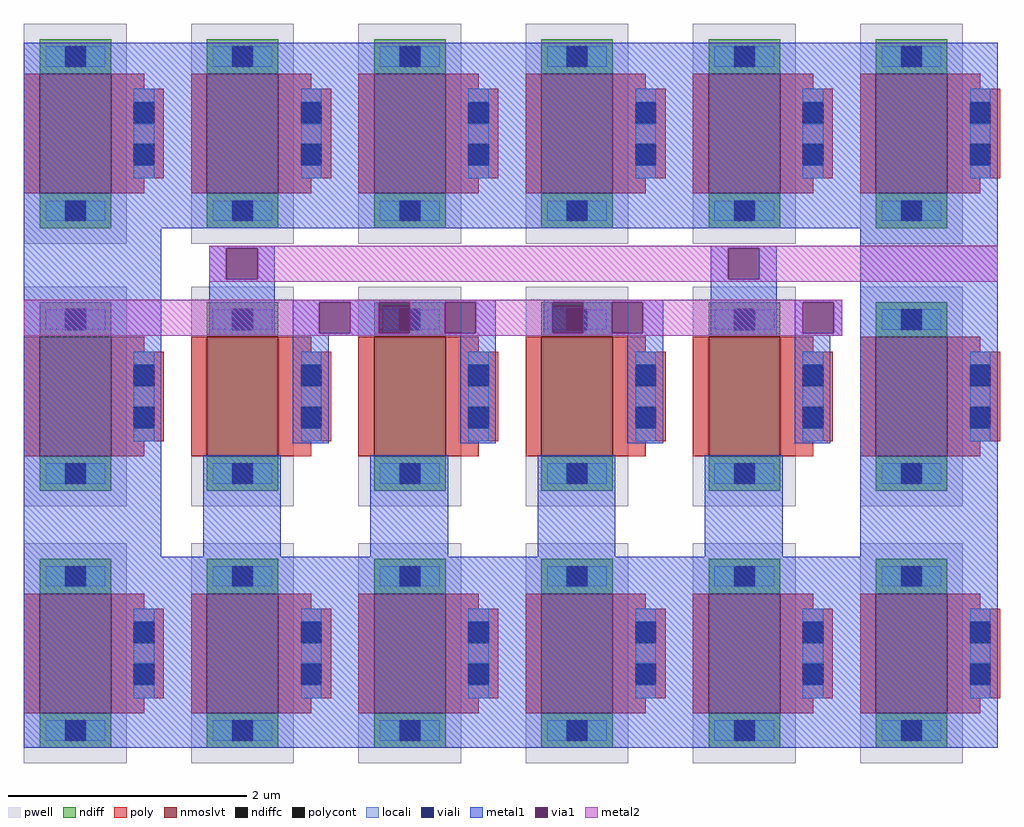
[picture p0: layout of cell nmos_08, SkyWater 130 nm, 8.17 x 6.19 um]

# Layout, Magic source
magic
tech sky130A
magscale 1 2
<< metal1 >>
rect 0 870 1630 1180
rect 0 320 230 870
rect 310 836 420 840
rect 310 784 339 836
rect 391 784 420 836
rect 310 690 420 784
rect 1150 836 1260 840
rect 1150 784 1179 836
rect 1231 784 1260 836
rect 450 746 790 750
rect 450 694 494 746
rect 546 694 594 746
rect 646 694 704 746
rect 756 694 790 746
rect 450 690 790 694
rect 870 746 1070 750
rect 870 694 884 746
rect 936 694 984 746
rect 1036 694 1070 746
rect 870 690 1070 694
rect 1150 690 1260 784
rect 1290 746 1370 750
rect 1290 694 1304 746
rect 1356 694 1370 746
rect 1290 690 1370 694
rect 450 510 510 690
rect 730 510 790 690
rect 1010 510 1070 690
rect 1290 510 1350 690
rect 300 320 430 490
rect 580 320 710 490
rect 860 320 990 490
rect 1140 320 1270 490
rect 1400 320 1630 870
rect 0 0 1630 320
<< via1 >>
rect 339 784 391 836
rect 1179 784 1231 836
rect 494 694 546 746
rect 594 694 646 746
rect 704 694 756 746
rect 884 694 936 746
rect 984 694 1036 746
rect 1304 694 1356 746
<< metal2 >>
rect 310 836 1630 840
rect 310 784 339 836
rect 391 784 1179 836
rect 1231 784 1630 836
rect 310 780 1630 784
rect 0 746 1370 750
rect 0 694 494 746
rect 546 694 594 746
rect 646 694 704 746
rect 756 694 884 746
rect 936 694 984 746
rect 1036 694 1304 746
rect 1356 694 1370 746
rect 0 690 1370 694
use sky130_fd_pr__nfet_01v8_lvt_LTPL8U  sky130_fd_pr__nfet_01v8_lvt_LTPL8U_0
transform 0 1 1517 1 0 1028
box -184 -117 184 117
use sky130_fd_pr__nfet_01v8_lvt_LTPL8U  sky130_fd_pr__nfet_01v8_lvt_LTPL8U_1
transform 0 1 1237 1 0 1028
box -184 -117 184 117
use sky130_fd_pr__nfet_01v8_lvt_LTPL8U  sky130_fd_pr__nfet_01v8_lvt_LTPL8U_2
transform 0 1 397 1 0 1028
box -184 -117 184 117
use sky130_fd_pr__nfet_01v8_lvt_LTPL8U  sky130_fd_pr__nfet_01v8_lvt_LTPL8U_3
transform 0 1 117 1 0 1028
box -184 -117 184 117
use sky130_fd_pr__nfet_01v8_lvt_LTPL8U  sky130_fd_pr__nfet_01v8_lvt_LTPL8U_4
transform 0 1 677 1 0 1028
box -184 -117 184 117
use sky130_fd_pr__nfet_01v8_lvt_LTPL8U  sky130_fd_pr__nfet_01v8_lvt_LTPL8U_5
transform 0 1 957 1 0 1028
box -184 -117 184 117
use sky130_fd_pr__nfet_01v8_lvt_LTPL8U  sky130_fd_pr__nfet_01v8_lvt_LTPL8U_6
transform 0 1 1237 1 0 158
box -184 -117 184 117
use sky130_fd_pr__nfet_01v8_lvt_LTPL8U  sky130_fd_pr__nfet_01v8_lvt_LTPL8U_7
transform 0 1 1517 1 0 158
box -184 -117 184 117
use sky130_fd_pr__nfet_01v8_lvt_LTPL8U  sky130_fd_pr__nfet_01v8_lvt_LTPL8U_8
transform 0 1 677 1 0 158
box -184 -117 184 117
use sky130_fd_pr__nfet_01v8_lvt_LTPL8U  sky130_fd_pr__nfet_01v8_lvt_LTPL8U_9
transform 0 1 957 1 0 158
box -184 -117 184 117
use sky130_fd_pr__nfet_01v8_lvt_LTPL8U  sky130_fd_pr__nfet_01v8_lvt_LTPL8U_10
transform 0 1 397 1 0 158
box -184 -117 184 117
use sky130_fd_pr__nfet_01v8_lvt_LTPL8U  sky130_fd_pr__nfet_01v8_lvt_LTPL8U_11
transform 0 1 117 1 0 158
box -184 -117 184 117
use sky130_fd_pr__nfet_01v8_lvt_LTPL8U  sky130_fd_pr__nfet_01v8_lvt_LTPL8U_12
transform 0 1 117 1 0 588
box -184 -117 184 117
use sky130_fd_pr__nfet_01v8_lvt_LTPL8U  sky130_fd_pr__nfet_01v8_lvt_LTPL8U_13
transform 0 1 397 1 0 588
box -184 -117 184 117
use sky130_fd_pr__nfet_01v8_lvt_LTPL8U  sky130_fd_pr__nfet_01v8_lvt_LTPL8U_14
transform 0 1 677 1 0 588
box -184 -117 184 117
use sky130_fd_pr__nfet_01v8_lvt_LTPL8U  sky130_fd_pr__nfet_01v8_lvt_LTPL8U_15
transform 0 1 957 1 0 588
box -184 -117 184 117
use sky130_fd_pr__nfet_01v8_lvt_LTPL8U  sky130_fd_pr__nfet_01v8_lvt_LTPL8U_16
transform 0 1 1237 1 0 588
box -184 -117 184 117
use sky130_fd_pr__nfet_01v8_lvt_LTPL8U  sky130_fd_pr__nfet_01v8_lvt_LTPL8U_17
transform 0 1 1517 1 0 588
box -184 -117 184 117
<< end >>

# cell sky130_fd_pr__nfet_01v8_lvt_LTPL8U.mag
magic
tech sky130A
magscale 1 2
<< pwell >>
rect -184 -117 184 55
<< nmoslvt >>
rect -100 -91 100 29
<< ndiff >>
rect -158 -14 -100 29
rect -158 -48 -146 -14
rect -112 -48 -100 -14
rect -158 -91 -100 -48
rect 100 -14 158 29
rect 100 -48 112 -14
rect 146 -48 158 -14
rect 100 -91 158 -48
<< ndiffc >>
rect -146 -48 -112 -14
rect 112 -48 146 -14
<< poly >>
rect -75 101 75 117
rect -75 84 -51 101
rect -100 67 -51 84
rect -17 67 17 101
rect 51 84 75 101
rect 51 67 100 84
rect -100 29 100 67
rect -100 -117 100 -91
<< polycont >>
rect -51 67 -17 101
rect 17 67 51 101
<< locali >>
rect -75 67 -53 101
rect -17 67 17 101
rect 53 67 75 101
rect -146 -14 -112 19
rect -146 -81 -112 -48
rect 112 -14 146 19
rect 112 -81 146 -48
<< viali >>
rect -53 67 -51 101
rect -51 67 -19 101
rect 19 67 51 101
rect 51 67 53 101
rect -146 -48 -112 -14
rect 112 -48 146 -14
<< metal1 >>
rect -71 101 71 107
rect -71 67 -53 101
rect -19 67 19 101
rect 53 67 71 101
rect -71 61 71 67
rect -152 -14 -106 15
rect -152 -48 -146 -14
rect -112 -48 -106 -14
rect -152 -77 -106 -48
rect 106 -14 152 15
rect 106 -48 112 -14
rect 146 -48 152 -14
rect 106 -77 152 -48
<< end >>
